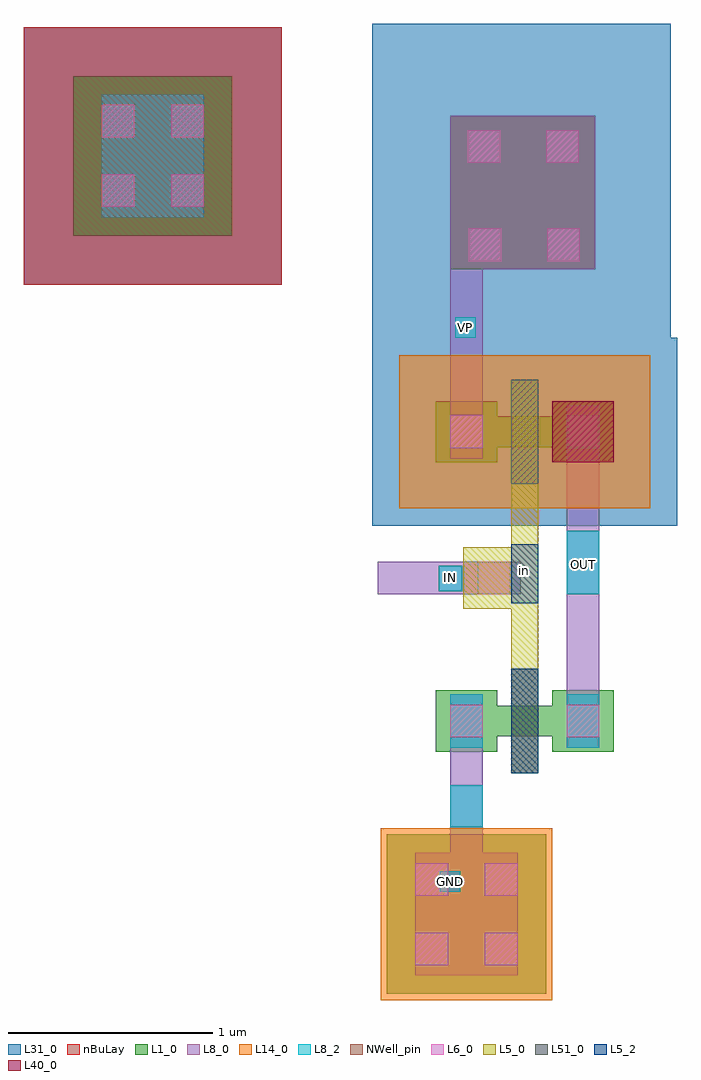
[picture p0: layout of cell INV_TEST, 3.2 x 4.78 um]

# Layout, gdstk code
import gdstk
lib = gdstk.Library(unit=1e-6, precision=5e-09)
def R(c, l, rs):  # rectangles x0, y0, x1, y1
    for r in rs: c.add(gdstk.rectangle(r[:2], r[2:], *l))
L1_0 = (1, 0)
L5_0 = (5, 0)
L5_2 = (5, 2)
L6_0 = (6, 0)
L8_0 = (8, 0)
L8_2 = (8, 2)
L14_0 = (14, 0)
L31_0 = (31, 0)
NWell_pin = (31, 2)
nBuLay = (32, 0)
L40_0 = (40, 0)
L51_0 = (51, 0)

nmos = lib.new_cell('nmos')
R(nmos, L1_0, [(0,0,0.3,0.3), (0.57,0,0.87,0.3), (0,0.075,0.87,0.225)])
R(nmos, L5_0, [(0.37,-0.105,0.5,0.405)])
R(nmos, L5_2, [(0.37,-0.105,0.5,0.405)])
R(nmos, L6_0, [(0.07,0.07,0.23,0.23), (0.64,0.07,0.8,0.23)])
R(nmos, L8_0, [(0.07,0.02,0.23,0.28), (0.64,0.02,0.8,0.28)])
R(nmos, L8_2, [(0.07,0.02,0.23,0.28), (0.64,0.02,0.8,0.28)])
R(nmos, L51_0, [(0.37,-0.105,0.5,0.405)])
nmos.add(gdstk.Label('nmos', (0.435,0.15), layer=63, texttype=0))
nmos.add(gdstk.Label('nmos', (0.435,0.15), layer=51, texttype=0))

via_1 = lib.new_cell('Via$1')
R(via_1, L5_0, [(-0.15,-0.15,0.15,0.15)])
R(via_1, L6_0, [(-0.08,-0.08,0.08,0.08)])
R(via_1, L8_0, [(-0.13,-0.08,0.13,0.08)])

pmos = lib.new_cell('pmos')
R(pmos, L1_0, [(0,0,0.3,0.3), (0.57,0,0.87,0.3), (0,0.075,0.87,0.225)])
R(pmos, L5_0, [(0.37,-0.105,0.5,0.405), (0.37,-0.105,0.5,0.405)])
R(pmos, L6_0, [(0.07,0.07,0.23,0.23), (0.64,0.07,0.8,0.23)])
R(pmos, L8_0, [(0.07,0.02,0.23,0.28), (0.07,0.02,0.23,0.28), (0.64,0.02,0.8,0.28), (0.64,0.02,0.8,0.28)])
R(pmos, L14_0, [(-0.18,-0.225,1.05,0.525)])
R(pmos, L31_0, [(-0.31,-0.31,1.18,0.61)])
R(pmos, L40_0, [(0.57,0,0.87,0.3)])
R(pmos, L51_0, [(0.37,-0.105,0.5,0.405)])
pmos.add(gdstk.Label('pmos', (0.435,0.15), layer=63, texttype=0))
pmos.add(gdstk.Label('pmos', (0.435,0.15), layer=51, texttype=0))

ntap1 = lib.new_cell('ntap1')
R(ntap1, L1_0, [(0,0,0.78,0.78)])
R(ntap1, L6_0, [(0.14,0.14,0.3,0.3), (0.48,0.14,0.64,0.3), (0.14,0.48,0.3,0.64), (0.48,0.48,0.64,0.64)])
R(ntap1, L8_0, [(0.14,0.09,0.64,0.69)])
R(ntap1, L8_2, [(0.14,0.09,0.64,0.69), (0.14,0.14,0.64,0.64)])
R(ntap1, L31_0, [(-0.24,-0.24,1.02,1.02), (0,0,0.78,0.78)])
R(ntap1, NWell_pin, [(0,0,0.78,0.78)])
R(ntap1, nBuLay, [(-0.24,-0.24,1.02,1.02)])
ntap1.add(gdstk.Label('well', (0.39,0.01), layer=31, texttype=0))
ntap1.add(gdstk.Label('well', (0.39,0.01), layer=63, texttype=0))

inv_test = lib.new_cell('INV_TEST')
R(inv_test, L1_0, [(-0.835,-3.215,-0.055,-2.435), (-0.525,0.33,0.185,1.08), (-2.37,0.495,-1.59,1.275)])
R(inv_test, L5_0, [(-0.225,-1.635,-0.095,-0.7)])
R(inv_test, L5_2, [(-0.225,-1.305,-0.095,-1.015), (-0.21,-1.195,-0.11,-1.095)])
R(inv_test, L6_0, [(-0.695,-3.075,-0.535,-2.915), (-0.355,-3.075,-0.195,-2.915), (-0.695,-2.735,-0.535,-2.575), (-0.355,-2.735,-0.195,-2.575), (-0.435,0.37,-0.275,0.53), (-0.05,0.37,0.11,0.53), (-2.23,0.635,-2.07,0.795), (-1.89,0.635,-1.73,0.795), (-0.44,0.85,-0.28,1.01), (-0.055,0.85,0.105,1.01), (-2.23,0.975,-2.07,1.135), (-1.89,0.975,-1.73,1.135)])
R(inv_test, L8_0, [(-0.695,-3.125,-0.195,-2.525), (-0.525,-2.72,-0.365,-2.4), (-0.525,-2.4,-0.365,-2.015), (-0.525,-2.015,-0.365,-1.995), (0.045,-1.755,0.205,-0.52), (-0.88,-1.26,-0.59,-1.1), (-0.59,-1.26,-0.44,-1.1), (-0.525,-0.375,-0.365,-0.31), (-0.525,-0.31,-0.365,0.125), (-0.525,-0.045,-0.365,0.125), (-0.525,0.125,-0.365,0.345), (-0.525,0.33,0.185,1.08), (-0.525,0.345,-0.365,0.77), (-2.23,0.585,-1.73,1.185)])
R(inv_test, L8_2, [(-0.575,-2.715,-0.475,-2.615), (-0.525,-2.4,-0.365,-2.195), (0.045,-1.26,0.205,-0.95), (-0.58,-1.245,-0.465,-1.12), (-0.575,-1.23,-0.475,-1.13), (0.075,-1.165,0.175,-1.065), (-0.5,-0.005,-0.4,0.095)])
R(inv_test, L14_0, [(-0.865,-3.245,-0.025,-2.405)])
R(inv_test, L31_0, [(-0.905,-0.005,0.555,1.53), (-2.61,0.255,-1.35,1.515)])
R(inv_test, nBuLay, [(-2.61,0.255,-1.35,1.515), (-0.525,0.33,0.185,1.08)])
inv_test.add(gdstk.Reference(nmos, (-0.595,-2.03)))
inv_test.add(gdstk.Reference(via_1, (-0.31,-1.18)))
inv_test.add(gdstk.Reference(pmos, (-0.595,-0.615)))
inv_test.add(gdstk.Reference(ntap1, (-2.37,0.495)))
inv_test.add(gdstk.Label('GND', (-0.525,-2.665), layer=8, texttype=25))
inv_test.add(gdstk.Label('OUT', (0.125,-1.115), layer=8, texttype=25))
inv_test.add(gdstk.Label('IN', (-0.525,-1.18), layer=8, texttype=25))
inv_test.add(gdstk.Label('VP', (-0.45,0.045), layer=8, texttype=25))
inv_test.add(gdstk.Label('in', (-0.16,-1.145), layer=5, texttype=1))

lib.write_gds('INV_TEST.gds')
